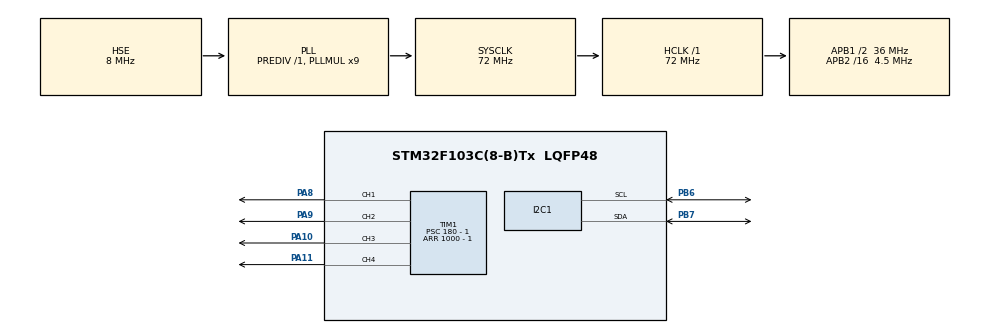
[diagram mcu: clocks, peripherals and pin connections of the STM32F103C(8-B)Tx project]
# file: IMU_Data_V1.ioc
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I2C1.I2C_Mode=I2C_Fast
Mcu.Family=STM32F1
Mcu.Name=STM32F103C(8-B)Tx
Mcu.Package=LQFP48
NVIC.PriorityGroup=NVIC_PRIORITYGROUP_4
PA10.Signal=S_TIM1_CH3
PA11.Signal=S_TIM1_CH4
PA13.Mode=Serial_Wire
PA13.Signal=SYS_JTMS-SWDIO
PA14.Mode=Serial_Wire
PA14.Signal=SYS_JTCK-SWCLK
PA8.Signal=S_TIM1_CH1
PA9.Signal=S_TIM1_CH2
PB6.Mode=I2C
PB6.Signal=I2C1_SCL
PB7.Mode=I2C
PB7.Signal=I2C1_SDA
PD0-OSC_IN.Mode=HSE-External-Oscillator
PD0-OSC_IN.Signal=RCC_OSC_IN
PD1-OSC_OUT.Mode=HSE-External-Oscillator
PD1-OSC_OUT.Signal=RCC_OSC_OUT
ProjectManager.HeapSize=0x200
ProjectManager.StackSize=0x400
ProjectManager.TargetToolchain=STM32CubeIDE
RCC.AHBFreq_Value=72000000
RCC.APB1CLKDivider=RCC_HCLK_DIV2
RCC.APB1Freq_Value=36000000
RCC.APB1TimFreq_Value=72000000
RCC.APB2CLKDivider=RCC_HCLK_DIV16
RCC.APB2Freq_Value=4500000
RCC.APB2TimFreq_Value=9000000
RCC.HCLKFreq_Value=72000000
RCC.PLLMUL=RCC_PLL_MUL9
RCC.PLLSourceVirtual=RCC_PLLSOURCE_HSE
RCC.SYSCLKFreq_VALUE=72000000
RCC.SYSCLKSource=RCC_SYSCLKSOURCE_PLLCLK
RCC.USBFreq_Value=72000000
SH.S_TIM1_CH1.0=TIM1_CH1,PWM Generation1 CH1
SH.S_TIM1_CH2.0=TIM1_CH2,PWM Generation2 CH2
SH.S_TIM1_CH3.0=TIM1_CH3,PWM Generation3 CH3
SH.S_TIM1_CH4.0=TIM1_CH4,PWM Generation4 CH4
TIM1.Channel-PWM\ Generation1\ CH1=TIM_CHANNEL_1
TIM1.Channel-PWM\ Generation2\ CH2=TIM_CHANNEL_2
TIM1.Channel-PWM\ Generation3\ CH3=TIM_CHANNEL_3
TIM1.Channel-PWM\ Generation4\ CH4=TIM_CHANNEL_4
TIM1.Period=1000 - 1
TIM1.Prescaler=180 - 1
VP_TIM1_VS_ClockSourceINT.Mode=Internal
board=custom

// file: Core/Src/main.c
/* USER CODE BEGIN Header */
/**
  ******************************************************************************
  * @author 		: Devesh shevde
  * @file           : main.c
  * @brief          : Main program body
  ******************************************************************************
  * @attention
  *
  * Copyright (c) 2023 STMicroelectronics.
  * All rights reserved.
  *
  * This software is licensed under terms that can be found in the LICENSE file
  * in the root directory of this software component.
  * If no LICENSE file comes with this software, it is provided AS-IS.
  *
  ******************************************************************************
  */
/* USER CODE END Header */
#include "main.h"

/* USER CODE BEGIN Includes */
#include "mpu.h"
#include "BME280_STM32.h"
#include "math.h"

/* USER CODE END Includes */

/* USER CODE BEGIN PTD */

///ESC and MOtors parameter.
#define ESC_CALIBRATE 1

#define ESC_OFFSET    50

#define PRESSURE_AT_GROUND 1013.25

#define Targeted_Altitude 0

// R = universal gas constant (8.314 JK-1 mol-1)
// M = mean molar mass of the atmospheric gases (0.02896 kgmol-1)
// g = acceleration due to gravity; g = 9.80620 m/s2 at the 45th degree of latitude
// T = absolute temperature (273 K)
// Δh=h1 –h0

//p(h1) = p(ho)e^(-Mg/RT)*Δh

//Mg/RT = 0.008648617242959709

#define expo_constant 0.008648617242959709

float M1_M2,//Channel_1 and Channel_2
	  M3_M4;//Channel_3 and Channel_4

float Error,
	  prevError;

float default_Angle = 0; // ye hamesha ni kar sakte ,  may be jab drone mudega it will create some probs

int      Time      ,
		 prev_Time ,
		 Time_spent;

float    prop_error,
		 deri_error,
		 inte_error;

float    kP,
		 kD,
		 kI;

int PID_OUTPUT,Speed;

//BME data

float Temperature,
	  Pressure   ,
	  Humidity   ;

float Current_Height        ,
	  Initial_Height_Offset ,
	  Previous_Height       ,
	  Error_Height 			;

/* USER CODE END PTD */

I2C_HandleTypeDef hi2c1;

TIM_HandleTypeDef htim1;

void SystemClock_Config(void);
static void MX_GPIO_Init(void);
static void MX_I2C1_Init(void);
static void MX_TIM1_Init(void);

/* USER CODE BEGIN 0 */
MPU6050_t MPU6050;

void Altitude_Hold()//CALCULATION : https://www.amsys-sensor.com/downloads/notes/ms5611-precise-altitude-measurement-with-a-pressure-sensor-module-amsys-509e.pdf
{
	 BME280_Measure();

	 Current_Height = Initial_Height_Offset + (log(PRESSURE_AT_GROUND/Pressure)/ expo_constant);
	 Error_Height = Current_Height - Targeted_Altitude;

}

/* USER CODE END 0 */

int main(void)
{

  /* MCU Configuration--------------------------------------------------------*/

  /* Reset of all peripherals, Initializes the Flash interface and the Systick. */
  HAL_Init();

  /* Configure the system clock */
  SystemClock_Config();

  /* Initialize all configured peripherals */
  MX_GPIO_Init();
  MX_I2C1_Init();
  MX_TIM1_Init();
  /* USER CODE BEGIN 2 */
  MPU6050_Init(&hi2c1); // starting mpu

  HAL_TIM_PWM_Start(&htim1,TIM_CHANNEL_1);
  HAL_TIM_PWM_Start(&htim1,TIM_CHANNEL_2);
  HAL_TIM_PWM_Start(&htim1,TIM_CHANNEL_3);
  HAL_TIM_PWM_Start(&htim1,TIM_CHANNEL_4);

  //ESC CALIBRATE

#if ESC_CALIBRATE

  TIM1->CCR1 = 100;
  TIM1->CCR2 = 100;
  TIM1->CCR3 = 100;
  TIM1->CCR4 = 100;

  HAL_Delay(2000);

  TIM1->CCR1 = 50;
  TIM1->CCR2 = 50;
  TIM1->CCR3 = 50;
  TIM1->CCR4 = 50;

  HAL_Delay(2000);

  TIM1->CCR1 = 0;
  TIM1->CCR2 = 0;
  TIM1->CCR3 = 0;
  TIM1->CCR4 = 0;

#endif

  //BME

  BME280_Config(OSRS_2, OSRS_16, OSRS_1, MODE_NORMAL, T_SB_0p5, IIR_16);

  /* USER CODE END 2 */

  /* Infinite loop */
  /* USER CODE BEGIN WHILE */
  while (1)
  {
	  MPU6050_Read_All(&hi2c1, &MPU6050);

	  prev_Time = Time;
	  Time = micros();

	  Time_spent = (Time - prev_Time)*10e-06; // microSeconds h ye may be kaam na kare ya system more unstable ho jye

	  Error = MPU6050.Gx - default_Angle;  // ye sirf aik axis ka angle h( can be combined with 2 axis using some trigno)

	  prop_error = kP * Error;
	  deri_error = kD * ((Error - prevError)/Time_spent);
	  inte_error = kI * inte_error + (kI * Error);

	  PID_OUTPUT = (int)abs((prop_error + deri_error + inte_error));

	  TIM1->CCR1 = ESC_OFFSET + Speed + PID_OUTPUT;
	  TIM1->CCR2 = ESC_OFFSET + Speed + PID_OUTPUT;
	  TIM1->CCR3 = ESC_OFFSET + Speed - PID_OUTPUT;
	  TIM1->CCR4 = ESC_OFFSET + Speed - PID_OUTPUT;

    /* USER CODE END WHILE */

    /* USER CODE BEGIN 3 */
	  prevError = Error;

  }
  /* USER CODE END 3 */
}

void SystemClock_Config(void)
{
  RCC_OscInitTypeDef RCC_OscInitStruct = {0};
  RCC_ClkInitTypeDef RCC_ClkInitStruct = {0};

  /** Initializes the RCC Oscillators according to the specified parameters
  * in the RCC_OscInitTypeDef structure.
  */
  RCC_OscInitStruct.OscillatorType = RCC_OSCILLATORTYPE_HSE;
  RCC_OscInitStruct.HSEState = RCC_HSE_ON;
  RCC_OscInitStruct.HSEPredivValue = RCC_HSE_PREDIV_DIV1;
  RCC_OscInitStruct.HSIState = RCC_HSI_ON;
  RCC_OscInitStruct.PLL.PLLState = RCC_PLL_ON;
  RCC_OscInitStruct.PLL.PLLSource = RCC_PLLSOURCE_HSE;
  RCC_OscInitStruct.PLL.PLLMUL = RCC_PLL_MUL9;
  if (HAL_RCC_OscConfig(&RCC_OscInitStruct) != HAL_OK)
  {
    Error_Handler();
  }

  /** Initializes the CPU, AHB and APB buses clocks
  */
  RCC_ClkInitStruct.ClockType = RCC_CLOCKTYPE_HCLK|RCC_CLOCKTYPE_SYSCLK
                              |RCC_CLOCKTYPE_PCLK1|RCC_CLOCKTYPE_PCLK2;
  RCC_ClkInitStruct.SYSCLKSource = RCC_SYSCLKSOURCE_PLLCLK;
  RCC_ClkInitStruct.AHBCLKDivider = RCC_SYSCLK_DIV1;
  RCC_ClkInitStruct.APB1CLKDivider = RCC_HCLK_DIV2;
  RCC_ClkInitStruct.APB2CLKDivider = RCC_HCLK_DIV16;

  if (HAL_RCC_ClockConfig(&RCC_ClkInitStruct, FLASH_LATENCY_2) != HAL_OK)
  {
    Error_Handler();
  }
}

static void MX_I2C1_Init(void)
{

  hi2c1.Instance = I2C1;
  hi2c1.Init.ClockSpeed = 400000;
  hi2c1.Init.DutyCycle = I2C_DUTYCYCLE_2;
  hi2c1.Init.OwnAddress1 = 0;
  hi2c1.Init.AddressingMode = I2C_ADDRESSINGMODE_7BIT;
  hi2c1.Init.DualAddressMode = I2C_DUALADDRESS_DISABLE;
  hi2c1.Init.OwnAddress2 = 0;
  hi2c1.Init.GeneralCallMode = I2C_GENERALCALL_DISABLE;
  hi2c1.Init.NoStretchMode = I2C_NOSTRETCH_DISABLE;
  if (HAL_I2C_Init(&hi2c1) != HAL_OK)
  {
    Error_Handler();
  }

}

static void MX_TIM1_Init(void)
{

  TIM_ClockConfigTypeDef sClockSourceConfig = {0};
  TIM_MasterConfigTypeDef sMasterConfig = {0};
  TIM_OC_InitTypeDef sConfigOC = {0};
  TIM_BreakDeadTimeConfigTypeDef sBreakDeadTimeConfig = {0};

  htim1.Instance = TIM1;
  htim1.Init.Prescaler = 180 - 1;
  htim1.Init.CounterMode = TIM_COUNTERMODE_UP;
  htim1.Init.Period = 1000 - 1;
  htim1.Init.ClockDivision = TIM_CLOCKDIVISION_DIV1;
  htim1.Init.RepetitionCounter = 0;
  htim1.Init.AutoReloadPreload = TIM_AUTORELOAD_PRELOAD_DISABLE;
  if (HAL_TIM_Base_Init(&htim1) != HAL_OK)
  {
    Error_Handler();
  }
  sClockSourceConfig.ClockSource = TIM_CLOCKSOURCE_INTERNAL;
  if (HAL_TIM_ConfigClockSource(&htim1, &sClockSourceConfig) != HAL_OK)
  {
    Error_Handler();
  }
  if (HAL_TIM_PWM_Init(&htim1) != HAL_OK)
  {
    Error_Handler();
  }
  sMasterConfig.MasterOutputTrigger = TIM_TRGO_RESET;
  sMasterConfig.MasterSlaveMode = TIM_MASTERSLAVEMODE_DISABLE;
  if (HAL_TIMEx_MasterConfigSynchronization(&htim1, &sMasterConfig) != HAL_OK)
  {
    Error_Handler();
  }
  sConfigOC.OCMode = TIM_OCMODE_PWM1;
  sConfigOC.Pulse = 0;
  sConfigOC.OCPolarity = TIM_OCPOLARITY_HIGH;
  sConfigOC.OCNPolarity = TIM_OCNPOLARITY_HIGH;
  sConfigOC.OCFastMode = TIM_OCFAST_DISABLE;
  sConfigOC.OCIdleState = TIM_OCIDLESTATE_RESET;
  sConfigOC.OCNIdleState = TIM_OCNIDLESTATE_RESET;
  if (HAL_TIM_PWM_ConfigChannel(&htim1, &sConfigOC, TIM_CHANNEL_1) != HAL_OK)
  {
    Error_Handler();
  }
  if (HAL_TIM_PWM_ConfigChannel(&htim1, &sConfigOC, TIM_CHANNEL_2) != HAL_OK)
  {
    Error_Handler();
  }
  if (HAL_TIM_PWM_ConfigChannel(&htim1, &sConfigOC, TIM_CHANNEL_3) != HAL_OK)
  {
    Error_Handler();
  }
  if (HAL_TIM_PWM_ConfigChannel(&htim1, &sConfigOC, TIM_CHANNEL_4) != HAL_OK)
  {
    Error_Handler();
  }
  sBreakDeadTimeConfig.OffStateRunMode = TIM_OSSR_DISABLE;
  sBreakDeadTimeConfig.OffStateIDLEMode = TIM_OSSI_DISABLE;
  sBreakDeadTimeConfig.LockLevel = TIM_LOCKLEVEL_OFF;
  sBreakDeadTimeConfig.DeadTime = 0;
  sBreakDeadTimeConfig.BreakState = TIM_BREAK_DISABLE;
  sBreakDeadTimeConfig.BreakPolarity = TIM_BREAKPOLARITY_HIGH;
  sBreakDeadTimeConfig.AutomaticOutput = TIM_AUTOMATICOUTPUT_DISABLE;
  if (HAL_TIMEx_ConfigBreakDeadTime(&htim1, &sBreakDeadTimeConfig) != HAL_OK)
  {
    Error_Handler();
  }
  HAL_TIM_MspPostInit(&htim1);

}

static void MX_GPIO_Init(void)
{

  /* GPIO Ports Clock Enable */
  __HAL_RCC_GPIOD_CLK_ENABLE();
  __HAL_RCC_GPIOA_CLK_ENABLE();
  __HAL_RCC_GPIOB_CLK_ENABLE();

}

/* USER CODE BEGIN 4 */
int micros(void)
{
  uint32_t m0 = HAL_GetTick();
  uint32_t u0 = SysTick->LOAD - SysTick->VAL;
  uint32_t m1 = HAL_GetTick();
  uint32_t u1 = SysTick->LOAD - SysTick->VAL;

  if (m1 > m0) {
    return (int)( m1 * 1000 + (u1 * 1000) / SysTick->LOAD);
  } else {
    return (int)( m0 * 1000 + (u0 * 1000) / SysTick->LOAD);
  }
}
/* USER CODE END 4 */

void Error_Handler(void)
{
  __disable_irq();
  while (1)
  {
  }
}
